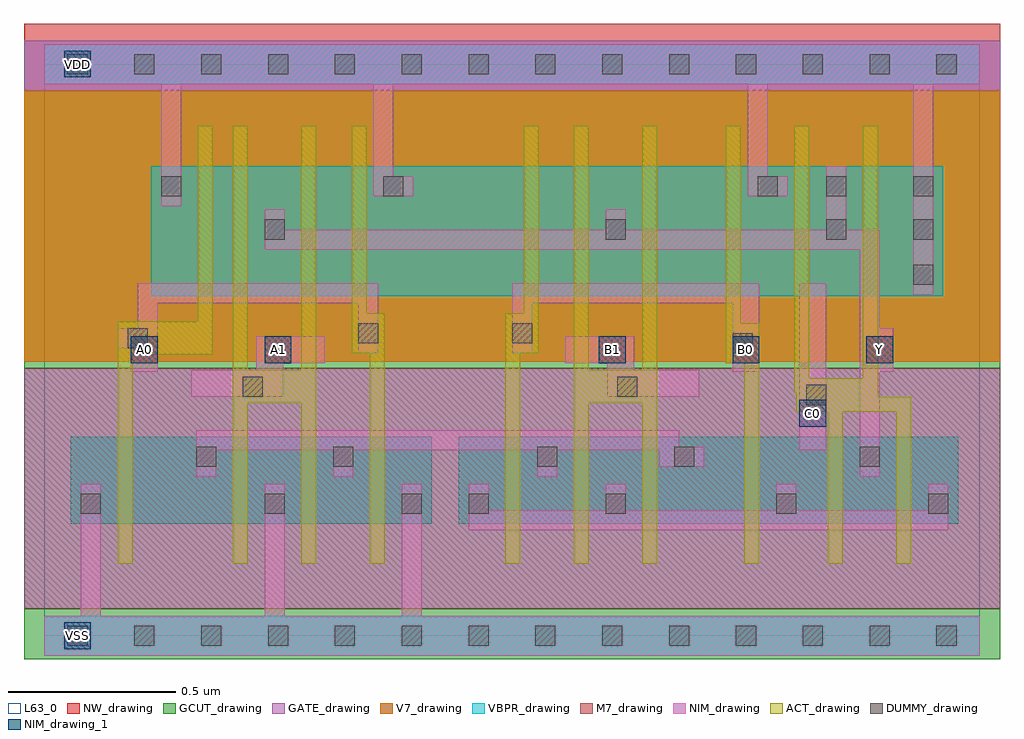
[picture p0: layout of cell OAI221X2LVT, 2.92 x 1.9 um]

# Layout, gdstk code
import gdstk
lib = gdstk.Library(unit=1e-6, precision=5e-10)
def R(c, l, rs):  # rectangles x0, y0, x1, y1
    for r in rs: c.add(gdstk.rectangle(r[:2], r[2:], *l))
def A(c, l, x, y, w, h, nx, ny, dx, dy):  # array of equal rectangles
    R(c, l, [(x+i*dx, y+j*dy, x+i*dx+w, y+j*dy+h) for i in range(nx) for j in range(ny)])
def P(c, l, *ps):  # polygons
    for p in ps: c.add(gdstk.Polygon(p, *l))
VBPR_drawing = (1, 0)
NW_drawing = (2, 0)
ACT_drawing = (3, 0)
GATE_drawing = (4, 0)
GCUT_drawing = (5, 0)
DUMMY_drawing = (6, 0)
NIM_drawing = (7, 0)
NIM_drawing_1 = (7, 1)
M7_drawing = (26, 0)
V7_drawing = (27, 0)
L63_0 = (63, 0)

oai221x2lvt = lib.new_cell('OAI221X2LVT')
R(oai221x2lvt, VBPR_drawing, [(0,-0.06,2.8,0.06), (0.08,0.335,1.16,0.595), (1.24,0.335,2.735,0.595), (0.32,1.015,2.69,1.405), (0,1.65,2.8,1.77)])
R(oai221x2lvt, NW_drawing, [(-0.06,0.82,2.86,1.83)])
P(oai221x2lvt, ACT_drawing, [(0.46,1.525),(0.505,1.525),(0.505,0.84),(0.265,0.84),(0.265,0.215),(0.22,0.215),(0.22,0.94),(0.46,0.94)],
  [(0.565,1.525),(0.61,1.525),(0.61,0.795),(0.77,0.795),(0.77,1.525),(0.815,1.525),(0.815,0.215),(0.77,0.215),(0.77,0.695),(0.61,0.695),(0.61,0.215),(0.565,0.215)],
  [(0.92,1.525),(0.965,1.525),(0.965,0.965),(1.02,0.965),(1.02,0.215),(0.975,0.215),(0.975,0.845),(0.92,0.845)],
  [(1.435,1.525),(1.48,1.525),(1.48,0.845),(1.425,0.845),(1.425,0.215),(1.38,0.215),(1.38,0.965),(1.435,0.965)],
  [(1.585,1.525),(1.63,1.525),(1.63,0.795),(1.79,0.795),(1.79,1.525),(1.835,1.525),(1.835,0.215),(1.79,0.215),(1.79,0.695),(1.63,0.695),(1.63,0.215),(1.585,0.215)],
  [(2.04,1.525),(2.085,1.525),(2.085,0.935),(2.14,0.935),(2.14,0.215),(2.095,0.215),(2.095,0.815),(2.04,0.815)],
  [(2.245,1.525),(2.29,1.525),(2.29,0.77),(2.45,0.77),(2.45,1.525),(2.495,1.525),(2.495,0.715),(2.595,0.715),(2.595,0.215),(2.55,0.215),(2.55,0.67),(2.39,0.67),(2.39,0.215),(2.345,0.215),(2.345,0.67),(2.25,0.67),(2.25,0.725),(2.245,0.725)])
R(oai221x2lvt, GATE_drawing, [(-0.06,0.08,2.86,0.8), (-0.06,1.63,2.86,1.78)])
R(oai221x2lvt, GCUT_drawing, [(-0.06,-0.07,2.86,0.08), (-0.06,0.8,2.86,1.63)])
A(oai221x2lvt, DUMMY_drawing, 0.07, -0.03, 0.06, 0.06, 14, 2, 0.2, 1.71)
R(oai221x2lvt, DUMMY_drawing, [(0.11,0.365,0.17,0.425), (0.66,0.365,0.72,0.425), (1.07,0.365,1.13,0.425), (1.27,0.365,1.33,0.425), (1.68,0.365,1.74,0.425), (2.19,0.365,2.25,0.425), (2.645,0.365,2.705,0.425), (0.455,0.505,0.515,0.565), (0.865,0.505,0.925,0.565), (1.475,0.505,1.535,0.565), (1.885,0.505,1.945,0.565), (2.44,0.505,2.5,0.565), (2.28,0.69,2.34,0.75), (0.595,0.715,0.655,0.775), (1.715,0.715,1.775,0.775), (2.06,0.845,2.12,0.905), (0.25,0.86,0.31,0.92), (0.94,0.875,1,0.935), (1.4,0.875,1.46,0.935), (2.6,1.05,2.66,1.11), (0.66,1.185,0.72,1.245), (1.68,1.185,1.74,1.245), (2.34,1.185,2.4,1.245), (2.6,1.185,2.66,1.245), (0.35,1.315,0.41,1.375), (1.015,1.315,1.075,1.375), (2.135,1.315,2.195,1.375), (2.34,1.315,2.4,1.375), (2.6,1.315,2.66,1.375)])
R(oai221x2lvt, NIM_drawing, [(0.11,0.06,0.17,0.455), (0.66,0.06,0.72,0.455), (1.07,0.06,1.13,0.455), (2.26,0.555,2.34,1.055), (2.6,1.02,2.66,1.65), (0.35,1.285,0.41,1.65)])
P(oai221x2lvt, NIM_drawing, [(2.225,1.375),(2.165,1.375),(2.165,1.65),(2.105,1.65),(2.105,1.315),(2.225,1.315)],
  [(1.105,1.375),(1.045,1.375),(1.045,1.65),(0.985,1.65),(0.985,1.315),(1.105,1.315)],
  [(0.66,1.275),(0.72,1.275),(0.72,1.215),(1.68,1.215),(1.68,1.275),(1.74,1.275),(1.74,1.215),(2.34,1.215),(2.34,1.405),(2.4,1.405),(2.4,1.215),(2.5,1.215),(2.5,0.92),(2.54,0.92),(2.54,0.79),(2.5,0.79),(2.5,0.475),(2.44,0.475),(2.44,1.155),(0.66,1.155)],
  [(0.28,1.055),(1,1.055),(1,0.845),(0.94,0.845),(0.94,0.995),(0.34,0.995),(0.34,0.79),(0.26,0.79),(0.26,0.86),(0.22,0.86),(0.22,0.92),(0.28,0.92)],
  [(0.635,0.895),(0.84,0.895),(0.84,0.815),(0.715,0.815),(0.715,0.715),(0.44,0.715),(0.44,0.795),(0.635,0.795)],
  [(1.4,1.055),(2.14,1.055),(2.14,0.79),(2.06,0.79),(2.06,0.995),(1.46,0.995),(1.46,0.845),(1.4,0.845)],
  [(1.56,0.895),(1.765,0.895),(1.765,0.795),(1.96,0.795),(1.96,0.715),(1.685,0.715),(1.685,0.815),(1.56,0.815)],
  [(0.455,0.615),(1.9,0.615),(1.9,0.565),(1.975,0.565),(1.975,0.505),(1.84,0.505),(1.84,0.555),(1.535,0.555),(1.535,0.475),(1.475,0.475),(1.475,0.555),(0.925,0.555),(0.925,0.475),(0.865,0.475),(0.865,0.555),(0.515,0.555),(0.515,0.475),(0.455,0.475)],
  [(1.27,0.455),(1.33,0.455),(1.33,0.375),(1.68,0.375),(1.68,0.455),(1.74,0.455),(1.74,0.375),(2.19,0.375),(2.19,0.455),(2.25,0.455),(2.25,0.375),(2.645,0.375),(2.645,0.455),(2.705,0.455),(2.705,0.315),(1.27,0.315)])
A(oai221x2lvt, NIM_drawing_1, 1.66, 0.815, 0.08, 0.08, 3, 1, 0.4, 0)
R(oai221x2lvt, NIM_drawing_1, [(0.06,-0.04,0.14,0.04), (2.26,0.625,2.34,0.705), (0.26,0.815,0.34,0.895), (0.66,0.815,0.74,0.895), (0.06,1.67,0.14,1.75)])
R(oai221x2lvt, M7_drawing, [(-0.06,0.08,2.86,0.8)])
R(oai221x2lvt, V7_drawing, [(-0.06,0.82,2.86,1.63)])
R(oai221x2lvt, L63_0, [(0,0,2.8,1.71)])
oai221x2lvt.add(gdstk.FlexPath([(0,0),(2.8,0)], 0.12, ends="flush", simple_path=True, layer=7, datatype=0))  # NIM_drawing
oai221x2lvt.add(gdstk.FlexPath([(0,1.71),(2.8,1.71)], 0.12, ends="flush", simple_path=True, layer=7, datatype=0))  # NIM_drawing
oai221x2lvt.add(gdstk.Label('Y', (2.5,0.855), layer=7, texttype=1))
oai221x2lvt.add(gdstk.Label('A0', (0.3,0.855), layer=7, texttype=1))
oai221x2lvt.add(gdstk.Label('B0', (2.1,0.855), layer=7, texttype=1))
oai221x2lvt.add(gdstk.Label('A1', (0.7,0.855), layer=7, texttype=1))
oai221x2lvt.add(gdstk.Label('B1', (1.7,0.855), layer=7, texttype=1))
oai221x2lvt.add(gdstk.Label('C0', (2.3,0.665), layer=7, texttype=1))
oai221x2lvt.add(gdstk.Label('VDD', (0.1,1.71), layer=7, texttype=1))
oai221x2lvt.add(gdstk.Label('VSS', (0.1,0), layer=7, texttype=1))
oai221x2lvt.add(gdstk.Label('VSS', (0.1,0), layer=7, texttype=1))
oai221x2lvt.add(gdstk.Label('VDD', (0.1,1.71), layer=7, texttype=1))
oai221x2lvt.add(gdstk.Label('C0', (2.3,0.665), layer=7, texttype=1))
oai221x2lvt.add(gdstk.Label('B1', (1.7,0.855), layer=7, texttype=1))
oai221x2lvt.add(gdstk.Label('A1', (0.7,0.855), layer=7, texttype=1))
oai221x2lvt.add(gdstk.Label('B0', (2.1,0.855), layer=7, texttype=1))
oai221x2lvt.add(gdstk.Label('A0', (0.3,0.855), layer=7, texttype=1))
oai221x2lvt.add(gdstk.Label('Y', (2.5,0.855), layer=7, texttype=1))
oai221x2lvt.add(gdstk.Label('OAI221X2', (0,0), layer=63, texttype=0))

lib.write_gds('OAI221X2LVT.gds')
